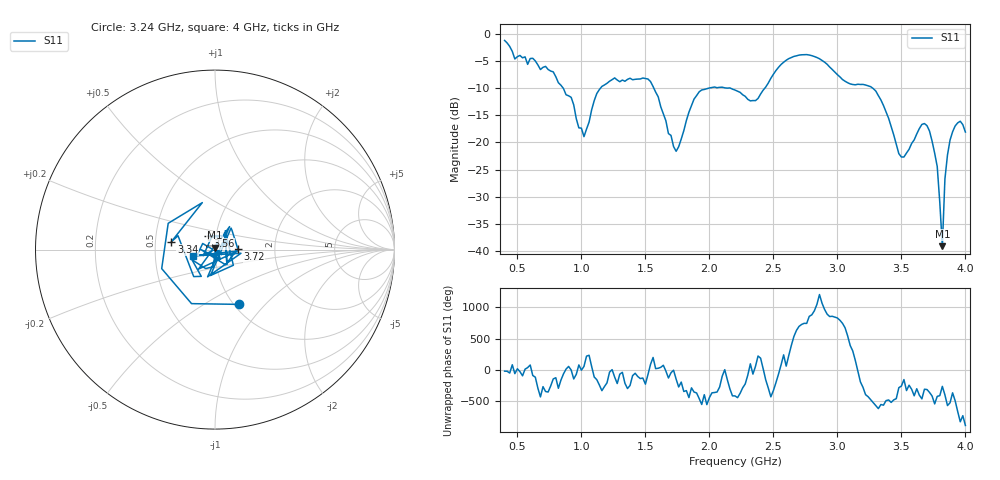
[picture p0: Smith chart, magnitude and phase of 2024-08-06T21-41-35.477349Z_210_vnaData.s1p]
!Created with skrf (http://scikit-rf.org).
# Hz S RI R 50.0
!freq ReS11 ImS11
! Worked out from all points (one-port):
!   181 points, 400 MHz to 4 GHz, reference 50 ohm
!   lowest |S11| = -39.2 dB at 3.82 GHz (marker M1), VSWR 1.02, Z = 49.8 + j1.08 ohm
!   |S11| at or under -10 dB: 859.2 MHz to 1.148 GHz (288.3 MHz wide, 28.7 % of centre); 1.567 GHz to 1.988 GHz (421.3 MHz wide, 23.7 % of centre); 3.279 GHz to end of sweep (the widest 3 of 4)
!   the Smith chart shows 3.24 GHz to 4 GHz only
!   S11 on the Smith chart (normalised r, x): 3.24 GHz: 1.06, -0.73; 3.34 GHz: 0.61, +0.06; 3.56 GHz: 0.91, +0.14; 3.72 GHz: 1.29, +0.01; 4 GHz: 0.78, -0.06
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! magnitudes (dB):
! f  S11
! 400 MHz  -1.1
! 480 MHz  -4.6
! 620 MHz  -4.4
! 860 MHz  -10.0
! 1.02 GHz  -18.9
! 1.14 GHz  -10.2
! 1.3 GHz  -8.8
! 1.54 GHz  -8.7
! 1.72 GHz  -20.7
! 1.76 GHz  -20.8
! 1.92 GHz  -10.6
! 2.2 GHz  -10.3
! 2.36 GHz  -12.3
! 2.66 GHz  -4.1
! 2.86 GHz  -4.5
! 3.1 GHz  -9.2
! 3.24 GHz  -9.5
! 3.34 GHz  -12.1
! 3.48 GHz  -22.1
! 3.56 GHz  -21.3
! 3.66 GHz  -16.7
! 3.72 GHz  -17.9
! 3.78 GHz  -24.4
! 3.82 GHz  -39.2
! 3.84 GHz  -26.8
! 3.88 GHz  -19.6
! 3.96 GHz  -16.1
! 4 GHz  -18.1
